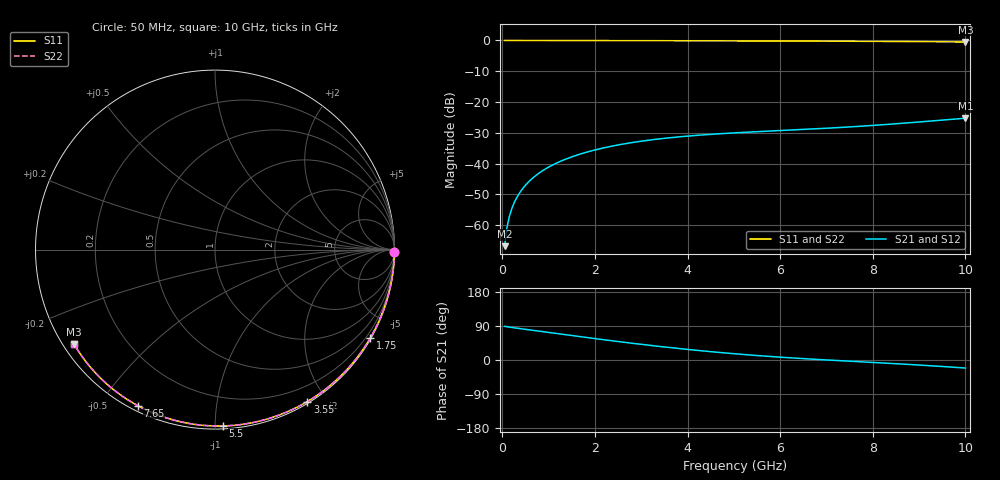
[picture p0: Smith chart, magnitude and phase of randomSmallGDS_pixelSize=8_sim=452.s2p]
! freq	dB(S11)	phase(S11)	dB(S12)	phase(S12)
!  dB(S21)	phase(S21)	dB(S22)	phase(S22)
!S-par simulation data
#  GHz  S  DB  R 50
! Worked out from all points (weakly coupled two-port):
!   200 points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, 50 MHz to 10 GHz, reference 50 ohm
!   highest |S21| = -25.26 dB at 10 GHz (marker M1); lowest = -66.8 dB at 50 MHz (marker M2)
!   lowest |S11| = -0.5 dB at 10 GHz (marker M3), VSWR 35.63, Z = 1.53 - j15.2 ohm
!   |S11| at or under -10 dB: nowhere
!   |S22| runs from -0.5 to 0.0 dB; largest |S21 - S12| = 0
!   S11 on the Smith chart (normalised r, x): 50 MHz: open; 1.75 GHz: 0.03, -3.76; 3.55 GHz: 0.02, -1.78; 5.5 GHz: 0.02, -1.05; 7.65 GHz: 0.02, -0.62; 10 GHz: 0.03, -0.30
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0.05  -0.00 -0.9  -66.84 88.9  -66.84 88.9  -0.00 -0.9
0.1  -0.00 -1.7  -60.84 87.8  -60.84 87.8  -0.00 -1.7
0.15  -0.00 -2.6  -57.34 86.8  -57.34 86.8  -0.00 -2.6
0.2  -0.00 -3.5  -54.87 85.9  -54.87 85.9  -0.00 -3.5
0.25  -0.00 -4.3  -52.96 85.0  -52.96 85.0  -0.00 -4.3
0.35  -0.00 -6.1  -50.08 83.4  -50.08 83.4  -0.00 -6.1
0.5  -0.01 -8.6  -47.03 80.9  -47.03 80.9  -0.01 -8.6
0.7  -0.01 -12.1  -44.16 77.6  -44.16 77.6  -0.01 -12.1
1  -0.02 -17.2  -41.15 72.7  -41.15 72.7  -0.02 -17.2
1.35  -0.03 -23.1  -38.67 66.9  -38.67 66.9  -0.03 -23.1
1.75  -0.04 -29.7  -36.60 60.4  -36.60 60.4  -0.04 -29.8
2.5  -0.06 -42.1  -33.95 48.7  -33.95 48.7  -0.06 -42.1
3.4  -0.08 -56.4  -31.97 35.7  -31.97 35.7  -0.08 -56.4
3.55  -0.08 -58.7  -31.72 33.7  -31.72 33.7  -0.08 -58.7
4.3  -0.10 -70.1  -30.71 24.3  -30.71 24.3  -0.10 -70.1
5.05  -0.13 -81.1  -29.99 16.1  -29.99 16.1  -0.13 -81.1
5.5  -0.14 -87.5  -29.64 11.8  -29.64 11.8  -0.14 -87.5
6.7  -0.20 -103.9  -28.76 2.2  -28.76 2.2  -0.20 -103.9
7.65  -0.26 -116.3  -27.95 -4.1  -27.95 -4.1  -0.26 -116.4
8.35  -0.32 -125.3  -27.24 -8.7  -27.24 -8.7  -0.32 -125.4
9.2  -0.40 -136.0  -26.25 -14.8  -26.25 -14.8  -0.40 -136.1
10  -0.49 -146.1  -25.26 -21.2  -25.26 -21.2  -0.49 -146.2
